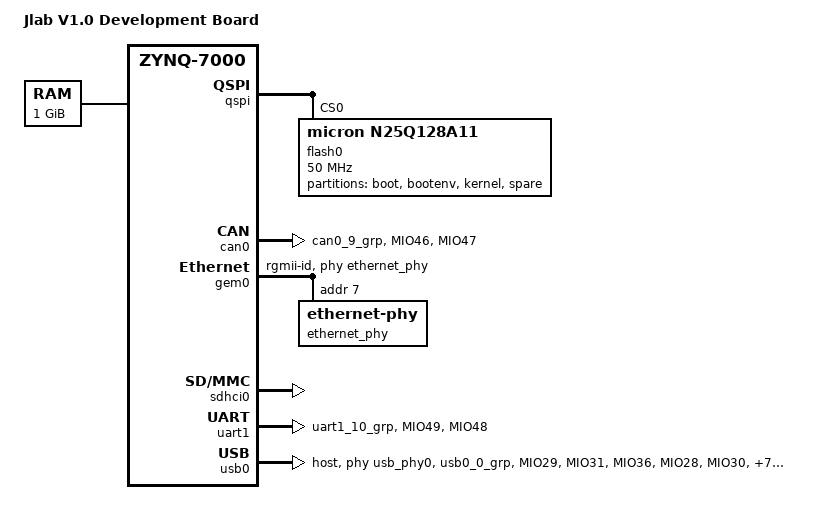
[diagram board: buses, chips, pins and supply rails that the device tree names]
/*
 *  Copyright (C) 2011 - 2014 Xilinx
 *  Copyright (C) 2012 National Instruments Corp.
 *
 * This software is licensed under the terms of the GNU General Public
 * License version 2, as published by the Free Software Foundation, and
 * may be copied, distributed, and modified under those terms.
 *
 * This program is distributed in the hope that it will be useful,
 * but WITHOUT ANY WARRANTY; without even the implied warranty of
 * MERCHANTABILITY or FITNESS FOR A PARTICULAR PURPOSE.  See the
 * GNU General Public License for more details.
 */
/dts-v1/;
/include/ "zynq-7000.dtsi"

/include/ "zynq-zc702_pl.dtsi"

/ {
	model = "Jlab V1.0 Development Board";
	compatible = "xlnx,zynq-zc702", "xlnx,zynq-7000";
	aliases {
		ethernet0 = &gem0;
		i2c0 = &i2c0;
		serial0 = &uart0;
		spi0 = &qspi;
		mmc0 = &sdhci0;
		usb0 = &usb0;
	};
	memory {
		device_type = "memory";
		reg = <0x0 0x40000000>;  //1G
	};
	chosen {
		bootargs = "console=ttyPS0,115200 earlyprintk root=/dev/nfs nfsroot=192.168.15.10:/home/rootfs_ubuntu/rootfs,tcp nolock ip=192.168.15.11:192.168.15.10:192.168.15.1:255.255.255.0:jf315:eth0:off rw uio_pdrv_genirq.of_id=generic-uio";
	}; 
	usb_phy0: phy0@e0002000 {
		//compatible = "usb-nop-xceiv";
		compatible = "ulpi-phy";
		#phy-cells = <0>;
		reg = <0xe0002000 0x1000>;
		view-port = <0x0170>;
		drv-vbus;
	};
};
&axi_gpio_0 {
	compatible = "generic-uio";
};

&gp_reg_top_0 {
	compatible = "generic-uio";
};

&gp_reg_top_1 {
	compatible = "generic-uio";
};

&qspi {
	flash0: flash@0 {
		compatible = "s25fl256s1";
	};
};

&qspi {
	flash0: flash@0 {
		compatible = "micron,n25q128a11";
	};
};

&amba {
	ocm: sram@fffc0000 {
		compatible = "mmio-sram";
		reg = <0xfffc0000 0x10000>;
	};
};


&can0 {
	status = "okay";
	pinctrl-names = "default";
	pinctrl-0 = <&pinctrl_can0_default>;
};

&clkc {
	ps-clk-frequency = <33333333>;
};

&gem0 {
	status = "okay";
	phy-mode = "rgmii-id";
	phy-handle = <&ethernet_phy>;
	//pinctrl-names = "default";
	//pinctrl-0 = <&pinctrl_gem0_default>;  //modify by YHL 2019-06-17w
	phy-reset-gpio = <&gpio0 11 0>;
	phy-reset-active-low;

	ethernet_phy: ethernet-phy@7 {
		reg = <7>;
		device_type = "ethernet-phy";
	};
};

&gpio0 {
	pinctrl-names = "default";
	pinctrl-0 = <&pinctrl_gpio0_default>;
};

&pinctrl0 {
	pinctrl_can0_default: can0-default {
		mux {
			function = "can0";
			groups = "can0_9_grp";
		};

		conf {
			groups = "can0_9_grp";
			slew-rate = <0>;
			io-standard = <1>;
		};

		conf-rx {
			pins = "MIO46";
			bias-high-impedance;
		};

		conf-tx {
			pins = "MIO47";
			bias-disable;
		};
	};

	pinctrl_gem0_default: gem0-default {
		mux {
			function = "ethernet0";
			groups = "ethernet0_0_grp";
		};

		conf {
			groups = "ethernet0_0_grp";
			slew-rate = <0>;
			io-standard = <4>;
		};

		conf-rx {
			pins = "MIO22", "MIO23", "MIO24", "MIO25", "MIO26", "MIO27";
			bias-high-impedance;
			low-power-disable;
		};

		conf-tx {
			pins = "MIO16", "MIO17", "MIO18", "MIO19", "MIO20", "MIO21";
			bias-disable;
			low-power-enable;
		};

		mux-mdio {
			function = "mdio0";
			groups = "mdio0_0_grp";
		};

		conf-mdio {
			groups = "mdio0_0_grp";
			slew-rate = <0>;
			io-standard = <1>;
			bias-disable;
		};
	};

	pinctrl_gpio0_default: gpio0-default {
		mux {
			function = "gpio0";
			groups = "gpio0_7_grp", "gpio0_8_grp", "gpio0_9_grp",
				 "gpio0_10_grp", "gpio0_11_grp", "gpio0_12_grp",
				 "gpio0_13_grp", "gpio0_14_grp";
		};

		conf {
			groups = "gpio0_7_grp", "gpio0_8_grp", "gpio0_9_grp",
				 "gpio0_10_grp", "gpio0_11_grp", "gpio0_12_grp",
				 "gpio0_13_grp", "gpio0_14_grp";
			slew-rate = <0>;
			io-standard = <1>;
		};

		conf-pull-up {
			pins = "MIO9", "MIO10", "MIO11", "MIO12", "MIO13", "MIO14";
			bias-pull-up;
		};

		conf-pull-none {
			pins = "MIO7", "MIO8";
			bias-disable;
		};
	};

	pinctrl_i2c0_default: i2c0-default {
		mux {
			groups = "i2c0_10_grp";
			function = "i2c0";
		};

		conf {
			groups = "i2c0_10_grp";
			bias-pull-up;
			slew-rate = <0>;
			io-standard = <1>;
		};
	};

	pinctrl_i2c0_gpio: i2c0-gpio {
		mux {
			groups = "gpio0_50_grp", "gpio0_51_grp";
			function = "gpio0";
		};

		conf {
			groups = "gpio0_50_grp", "gpio0_51_grp";
			slew-rate = <0>;
			io-standard = <1>;
		};
	};

	pinctrl_sdhci0_default: sdhci0-default {
		mux {
			groups = "sdio0_2_grp";
			function = "sdio0";
		};

		conf {
			groups = "sdio0_2_grp";
			slew-rate = <0>;
			io-standard = <1>;
			bias-disable;
		};

		mux-cd {
			groups = "gpio0_0_grp";
			function = "sdio0_cd";
		};

		conf-cd {
			groups = "gpio0_0_grp";
			bias-high-impedance;
			bias-pull-up;
			slew-rate = <0>;
			io-standard = <1>;
		};

		mux-wp {
			groups = "gpio0_15_grp";
			function = "sdio0_wp";
		};

		conf-wp {
			groups = "gpio0_15_grp";
			bias-high-impedance;
			bias-pull-up;
			slew-rate = <0>;
			io-standard = <1>;
		};
	};
	pinctrl_uart1_default: uart1-default {
		mux {
			groups = "uart1_10_grp";
			function = "uart1";
		};

		conf {
			groups = "uart1_10_grp";
			slew-rate = <0>;
			io-standard = <1>;
		};

		conf-rx {
			pins = "MIO49";
			bias-high-impedance;
		};

		conf-tx {
			pins = "MIO48";
			bias-disable;
		};
	};

	pinctrl_usb0_default: usb0-default {
		mux {
			groups = "usb0_0_grp";
			function = "usb0";
		};

		conf {
			groups = "usb0_0_grp";
			slew-rate = <0>;
			io-standard = <1>;
		};

		conf-rx {
			pins = "MIO29", "MIO31", "MIO36";
			bias-high-impedance;
		};

		conf-tx {
			pins = "MIO28", "MIO30", "MIO32", "MIO33", "MIO34",
			       "MIO35", "MIO37", "MIO38", "MIO39";
			bias-disable;
		};
	};
};

&amba_pl {
		#address-cells = <0x1>;
		#size-cells = <0x1>;
		compatible = "simple-bus";
		ranges;

		dma@40400000 {
			#dma-cells = <0x1>;
			compatible = "generic-uio";
			interrupt-parent = <0x3>;
			interrupts = <0x0 0x1d 0x4>;
			reg = <0x40400000 0x10000>;

			dma-channel@40400000 {
				compatible = "xlnx,axi-dma-mm2s-channel";
				interrupts = <0x0 0x1d 0x4>;
				xlnx,datawidth = <0x40>;
				xlnx,device-id = <0x0>;
			};
		};
		dma@40410000 {
			#dma-cells = <0x1>;
			compatible = "generic-uio";
			interrupt-parent = <0x3>;
			interrupts = <0x0 0x1e 0x4>;
			reg = <0x40410000 0x10000>;

			dma-channel@40410030 {
				compatible = "xlnx,axi-dma-s2mm-channel";
				interrupts = <0x0 0x1e 0x4>;
				xlnx,datawidth = <0x40>;
				xlnx,device-id = <0x1>;
			};
		};

		gpio@81200000 {
			#gpio-cells = <0x2>;
			compatible = "generic-uio";
			gpio-controller;
			reg = <0x81200000 0x10000>;
			xlnx,all-inputs = <0x0>;
			xlnx,all-inputs-2 = <0x0>;
			xlnx,all-outputs = <0x0>;
			xlnx,all-outputs-2 = <0x0>;
			xlnx,dout-default = <0x0>;
			xlnx,dout-default-2 = <0x0>;
			xlnx,gpio-width = <0xc>;
			xlnx,gpio2-width = <0x20>;
			xlnx,interrupt-present = <0x0>;
			xlnx,is-dual = <0x0>;
			xlnx,tri-default = <0x0>;
			xlnx,tri-default-2 = <0xffffffff>;
		};

		gp_reg_top@80000000 {
			compatible = "generic-uio";
			reg = <0x80000000 0x10000>;
		};

		gp_reg_top@83c00000 {
			compatible = "generic-uio";
			reg = <0x83c00000 0x10000>;
		};

		user_generic_irq@0 {
			compatible = "generic-uio";
			status = "okay";
			interrupt-controller;
			interrupt-parent = <0x3>;
			interrupts = <0x0 0x1f 0x1>;
		};

		user_generic_irq@1 {
			compatible = "generic-uio";
			status = "okay";
			interrupt-controller;
			interrupt-parent = <0x3>;
			interrupts = <0x0 0x20 0x1>;
		};
};


&qspi {
			clock-names = "ref_clk", "pclk";
			clocks = <0x1 0xa 0x1 0x2b>;
			compatible = "xlnx,zynq-qspi-1.0";
			status = "okay";
			interrupt-parent = <0x3>;
			interrupts = <0x0 0x13 0x4>;
			reg = <0xe000d000 0x1000>;
			#address-cells = <0x1>;
			#size-cells = <0x0>;
			is-dual = <0x0>;
			num-cs = <0x1>;

			flash@0 {
				compatible = "micron,n25q128a11";
				reg = <0x0>;
				#address-cells = <0x1>;
				#size-cells = <0x1>;
				spi-max-frequency = <0x2faf080>;

				partition@0x00000000 {
					label = "boot";
					reg = <0x0 0x500000>;
				};

				partition@0x00500000 {
					label = "bootenv";
					reg = <0x500000 0x20000>;
				};

				partition@0x00520000 {
					label = "kernel";
					reg = <0x520000 0xa80000>;
				};

				partition@0x00fa0000 {
					label = "spare";
					reg = <0xfa0000 0x0>;
				};
			};

			reserved-memory {
				#address-cells = <0x1>;
				#size-cells = <0x1>;
				ranges;

				mm2s_buffer@C800000 {
					reg = <0xc800000 0x800000>;
				};

				s2mm_buffer@D000000 {
					reg = <0xd000000 0x800000>;
				};

				pl_ddr@D800000 {
					reg = <0xd800000 0x10000000>;
				};
			};
};
&sdhci0 {
	u-boot,dm-pre-reloc;
	status = "okay";
	//pinctrl-names = "default";
	//pinctrl-0 = <&pinctrl_sdhci0_default>;   //modify by YHL 2019-06-17 
    xlnx,has-cd = <0x1>;
    xlnx,has-power = <0x0>;
    xlnx,has-wp = <0x0>;
};
&uart1 {
	u-boot,dm-pre-reloc;
	status = "okay";
	pinctrl-names = "default";
	pinctrl-0 = <&pinctrl_uart1_default>;
};

&usb0 {
	status = "okay";
	dr_mode = "host";
	usb-phy = <&usb_phy0>;
	pinctrl-names = "default";
	pinctrl-0 = <&pinctrl_usb0_default>;
};
